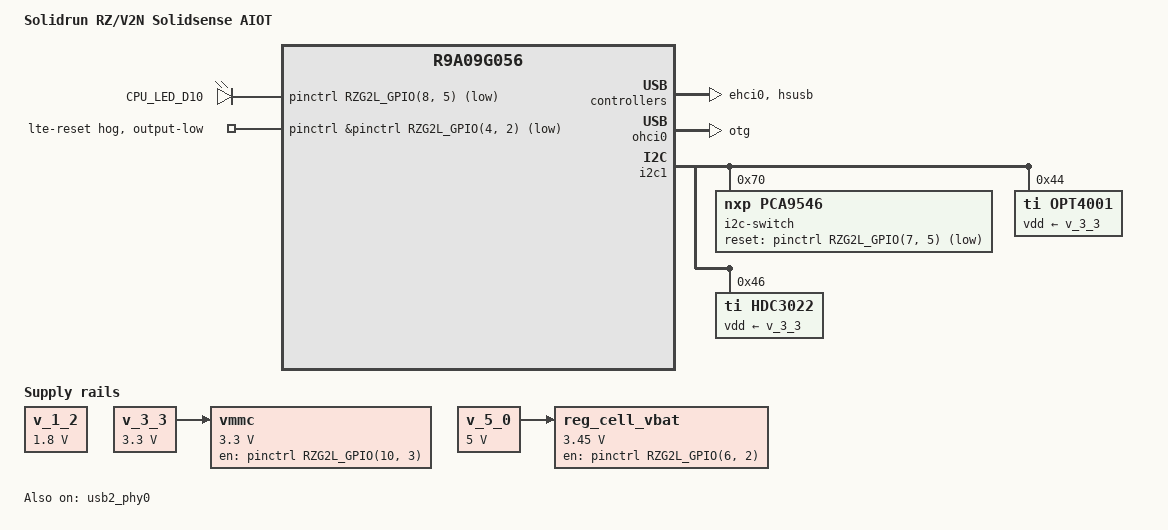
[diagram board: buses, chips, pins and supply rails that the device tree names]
// SPDX-License-Identifier: (GPL-2.0-only OR BSD-2-Clause)
/*
 * Device Tree Source for the RZ/V2N SolidRun Solidsense AIOT
 *
 * Copyright (C) 2025 SolidRun Ltd.
 */

/dts-v1/;

#include "rzv2n-sr-som.dtsi"
#include <dt-bindings/leds/common.h>

/ {
	model = "Solidrun RZ/V2N Solidsense AIOT";
	compatible = "renesas,rzv2n-sr-som", "renesas,r9a09g056n44", "renesas,r9a09g056";

	aliases {
		i2c3 = &i2c_csi0;
		i2c4 = &i2c_csi1;
	};

	leds {
		compatible = "gpio-leds";

		CPU_LED_D10 {
			label = "CPU_LED_D10";
			gpios = <&pinctrl RZG2L_GPIO(8, 5) GPIO_ACTIVE_LOW>;
			default-state = "on";
		};
	};
	
	v_1_2: regulator-1-2 {
		compatible = "regulator-fixed";
		regulator-name = "1v2";
		regulator-min-microvolt = <1800000>;
		regulator-max-microvolt = <1800000>;
	};

	v_3_3: regulator-3-3 {
		compatible = "regulator-fixed";
		regulator-name = "3v3";
		regulator-min-microvolt = <3300000>;
		regulator-max-microvolt = <3300000>;
	};

	v_5_0: regulator-5-0 {
		compatible = "regulator-fixed";
		regulator-name = "5v0";
		regulator-min-microvolt = <5000000>;
		regulator-max-microvolt = <5000000>;
	};

	vmmc: regulator-mmc {
		compatible = "regulator-fixed";
		regulator-name = "vmmc";
		vin-supply = <&v_3_3>;
		regulator-min-microvolt = <3300000>;
		regulator-max-microvolt = <3300000>;
		gpios = <&pinctrl RZG2L_GPIO(10, 3) GPIO_ACTIVE_HIGH>;
		enable-active-high;
		regulator-always-on;
	};

	/* LTE_PWR - CELL_VBAT 3.45V (J7[14]) */
	reg_cell_vbat: regulator-cell-vbat {
		compatible = "regulator-fixed";
		pinctrl-names = "default";
		regulator-name = "CELL_VBAT";
		vin-supply = <&v_5_0>;
		regulator-min-microvolt = <3450000>;
		regulator-max-microvolt = <3450000>;
		gpios = <&pinctrl RZG2L_GPIO(6, 2) GPIO_ACTIVE_HIGH>;
		enable-active-high;
		regulator-always-on;
	};

	/* <TBD> */
	rfkill_lte_gnss {
		compatible = "rfkill-gpio";
		pinctrl-names = "default";
		//pinctrl-0 = <&pinctrl_lte_rfkill>;
		label = "lte_reset";
		radio-type = "wwan";
		/* LTE_RST: J7[43] */
		//reset-gpio = <&pinctrl RZG2L_GPIO(4, 2) GPIO_ACTIVE_LOW>;
		/* Control via power regulator, not rfkill GPIO */
		//shutdown-gpio = <&pinctrl RZG2L_GPIO(6, 2) GPIO_ACTIVE_HIGH>;
		status = "okay";
	};
};

&ehci0 {
	spurious-oc;
	status = "okay";
};

&ehci0 {
	spurious-oc;
	status = "okay";
};

&eth0 {
	status = "disabled";
};

&eth1 {
	status = "disabled";
};

&hsusb {
	status = "okay";
};

&ohci0 {
	spurious-oc;
	dr_mode = "otg";
	status = "okay";
};

&usb2_phy0 {
	status = "okay";
};

/* UARTA (UART2) */
&sci2 {
	status = "disabled";
};

/* UARTB (UART3) */
&sci3 {
	status = "disabled";
};

/* Carrier I2C2 */
&i2c1 {
	status = "okay";

	/*
	 * I2C devices on carrier board:
	 * - STM32U031C8U6 MCU at 0x18
	 * - TAC5111IRGER Audio Codec at 0x50
	 * - TCA9546APWR I2C Switch at 0x70
	 * Flash Card (J6):
	 * - LM3645YCGR Camera Flash at 0x65
	 * - OPT4001DTSR Ambient Light Sensor at 0x44
	 * - HDC3022DEJR Humidity/Temperature sensor at 0x46
	 */
	i2c-switch@70 {
		compatible = "nxp,pca9546";
		reg = <0x70>;
		#address-cells = <1>;
		#size-cells = <0>;
		reset-gpios = <&pinctrl RZG2L_GPIO(7, 5) GPIO_ACTIVE_LOW>;

		i2c_csi0: i2c@0 {
			#address-cells = <1>;
			#size-cells = <0>;
			reg = <0>;
		};

		i2c_csi1: i2c@1 {
			#address-cells = <1>;
			#size-cells = <0>;
			reg = <1>;
		};
	};

	/* Audio codec - currently disabled pending driver verification */
	codec: audio-codec@50 {
		compatible = "ti,tac5111";
		reg = <0x50>;
		status = "disabled";
		
		#sound-dai-cells = <0>;
		
		pinctrl-names = "default";
		//pinctrl-0 = <&pinctrl_codec>;
		
		interrupts-extended = <&pinctrl RZG2L_GPIO(7, 1) IRQ_TYPE_EDGE_FALLING>;
		
		avdd-supply = <&v_3_3>;
		iovdd-supply = <&v_3_3>;

		/*
		 * GPIO configuration:
		 * - GPIO1: PDM data input
		 * - GPIO2: PDM clock output
		 * - GPO1:  Chip IRQ output
		 */
		ti,gpios-func = <1>, <4>, <3>;

		/*
		 * PDM input pin selection:
		 * - Channels 0/1: GPIO1
		 * - Channels 2/3: Not used
		 */
		ti,pdm-input-pins = <1>, <0>;

		/* GPI1 configured as CCLK input */
		ti,gpi1-func = <2>;

		/*
		 * VREF and MICBIAS configuration (required by driver)
		 * Note: These are not used by this board but must be
		 * configured to avoid probe errors
		 */
		ti,vref = <0>;
		ti,micbias-vg = <3>;

		/*
		 * GPIO drive configuration:
		 * - GPIO1: Floating (output buffer disabled)
		 * - GPIO2: Push-pull for PDM clock
		 * - GPO1:  Open-drain for IRQ
		 */
		ti,gpios-drive = <0>, <1>, <3>;

		/* GPA configuration */
		ti,gpa-gpio = <0>;
		ti,gpa-threshold = <75>, <186>;
	};

	/* OPT4001 Ambient Light Sensor */
	opt4001: light-sensor@44 {
		status = "okay";
		compatible = "ti,opt4001";
		reg = <0x44>;
		vdd-supply = <&v_3_3>;
	};

	/* HDC3022 Humidity and Temperature Sensor */
	hdc3022: humidity-sensor@46 {
		status = "okay";
		compatible = "ti,hdc3022";
		reg = <0x46>;
		vdd-supply = <&v_3_3>;
	};

	/* LM3645 Camera Flash LED Driver */
	camera_flash: flash-led@65 {
		status = "disabled";
		compatible = "ti,lm3645";
		reg = <0x65>;  /* Default I2C address */
		
		#address-cells = <1>;
		#size-cells = <0>;
		
		/* Enable pin (HWEN) */
		enable-gpios = <&pinctrl RZG2L_GPIO(7, 2) GPIO_ACTIVE_HIGH>;
		
		/* Flash strobe pin */
		flash-gpios = <&pinctrl RZG2L_GPIO(7, 3) GPIO_ACTIVE_HIGH>;
		
		/* Torch pin (optional) */
		torch-gpios = <&pinctrl RZG2L_GPIO(2, 1) GPIO_ACTIVE_HIGH>;
		
		/* LED1 - Flash LED */
		led@0 {
			reg = <0>;
			function = LED_FUNCTION_FLASH;
			color = <LED_COLOR_ID_WHITE>;
			led-max-microamp = <1500000>;  /* 1.5A max flash current */
			flash-max-microamp = <1500000>;
			flash-max-timeout-us = <1024000>;  /* Max 1024ms */
		};
		
		/* LED2 - Torch LED (optional) */
		led@1 {
			reg = <1>;
			function = LED_FUNCTION_TORCH;
			color = <LED_COLOR_ID_WHITE>;
			led-max-microamp = <376000>;  /* 376mA max torch current */
		};
	};
};

&pinctrl {
	pinctrl-names = "default";

	lte_rst_hog: lte-reset-hog {
		gpio-hog;
		/* LTE_RST: J7[43] */
		gpios = <&pinctrl RZG2L_GPIO(4, 2) GPIO_ACTIVE_LOW>;
		output-low;
		line-name = "lte-reset";
	};
};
